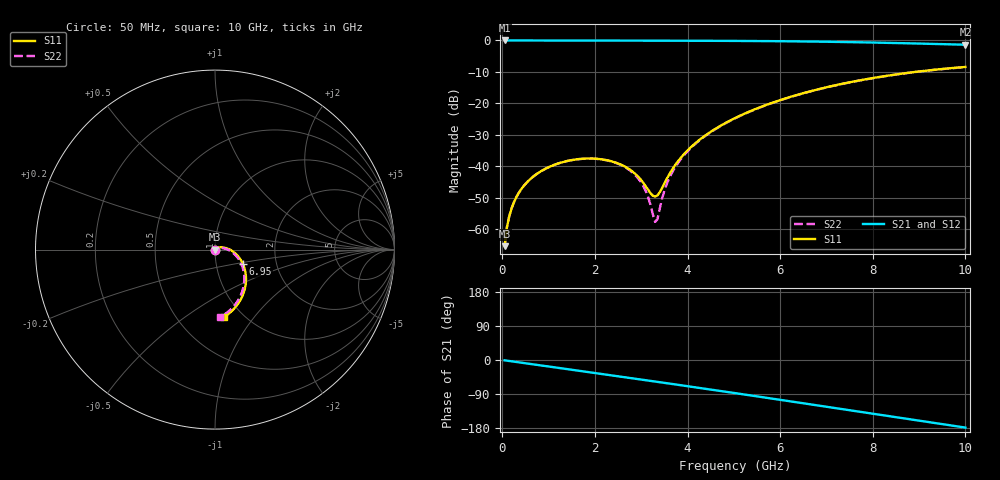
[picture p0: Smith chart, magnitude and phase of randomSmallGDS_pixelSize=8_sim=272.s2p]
! freq	dB(S11)	phase(S11)	dB(S12)	phase(S12)
!  dB(S21)	phase(S21)	dB(S22)	phase(S22)
!S-par simulation data
#  GHz  S  DB  R 50
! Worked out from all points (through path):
!   200 points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, 50 MHz to 10 GHz, reference 50 ohm
!   highest |S21| = 0.00 dB at 50 MHz (marker M1); lowest = -1.4 dB at 10 GHz (marker M2)
!   group delay of S21, straight-line fit = 49.7 ps
!   lowest |S11| = -65.4 dB at 50 MHz (marker M3), VSWR 1.00, Z = 50 - j0.0539 ohm
!   |S11| at or under -10 dB: start of sweep to 8.914 GHz
!   |S22| runs from -65.4 to -8.5 dB; largest |S21 - S12| = 0
!   S11 on the Smith chart (normalised r, x): 50 MHz: 1.00, -0.00; 6.95 GHz: 1.35, -0.23; 10 GHz: 0.82, -0.72
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0.05  -65.36 -88.1  -0.00 -0.9  -0.00 -0.9  -65.35 -88.1
0.1  -59.36 -90.5  -0.00 -1.7  -0.00 -1.7  -59.35 -90.4
0.2  -53.37 -93.2  -0.00 -3.5  -0.00 -3.5  -53.35 -93.0
0.5  -45.60 -99.5  -0.01 -8.6  -0.01 -8.6  -45.59 -99.0
1.05  -39.94 -110.5  -0.02 -18.1  -0.02 -18.1  -39.94 -109.3
1.75  -37.57 -124.9  -0.03 -30.0  -0.03 -30.0  -37.59 -122.5
2.3  -38.18 -137.9  -0.04 -39.5  -0.04 -39.5  -38.24 -133.3
2.7  -40.52 -150.8  -0.05 -46.4  -0.05 -46.4  -40.71 -142.4
3.05  -45.32 -174.5  -0.06 -52.5  -0.06 -52.5  -46.42 -155.8
3.15  -47.45 170.1  -0.06 -54.2  -0.06 -54.2  -49.81 -165.1
3.3  -49.64 127.4  -0.07 -56.8  -0.07 -56.8  -57.64 136.0
3.35  -49.24 110.0  -0.07 -57.7  -0.07 -57.7  -56.81 95.3
3.4  -48.23 94.4  -0.07 -58.6  -0.07 -58.6  -53.45 68.0
3.5  -45.43 72.1  -0.07 -60.3  -0.07 -60.3  -47.75 47.7
3.6  -42.68 58.9  -0.07 -62.1  -0.07 -62.1  -43.92 39.7
3.9  -36.50 39.5  -0.08 -67.3  -0.08 -67.3  -36.89 28.4
4.4  -30.02 23.8  -0.10 -76.2  -0.10 -76.2  -30.17 16.9
5.05  -24.49 9.1  -0.14 -87.8  -0.14 -87.8  -24.57 4.3
6.7  -15.96 -23.1  -0.35 -117.9  -0.35 -117.9  -16.01 -26.4
6.95  -15.05 -27.8  -0.40 -122.5  -0.40 -122.5  -15.10 -31.0
8.35  -11.13 -53.6  -0.77 -148.4  -0.77 -148.4  -11.16 -56.6
10  -8.43 -82.6  -1.36 -178.4  -1.36 -178.4  -8.47 -85.8
